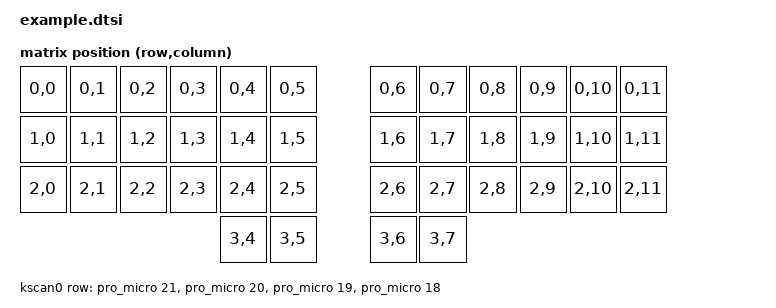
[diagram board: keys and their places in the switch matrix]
/*
 * Copyright (c) 2020 Pete Johanson
 *
 * SPDX-License-Identifier: MIT
 */

// 디바이스 트리 정의

// 키 매트릭스 디바이스 활용하기 위한 헤더
#include <dt-bindings/zmk/matrix_transform.h>

// 내 디바이스 설정
/ {
    // 어떤 디바이스를 zmk 가 사용할지 설정
    chosen {
        zmk,kscan = &kscan0;
        zmk,matrix_transform = &default_transform;
    };

    // 디폴트 키 매트릭스 설정, RC(row, col) 로 키 위치를 설정할 수 있다.
    default_transform: keymap_transform_0 {
        compatible = "zmk,matrix-transform";
        columns = <12>; // 열 개수
        rows = <4>; // 행 개수
// | SW1  | SW2  | SW3  | SW4  | SW5  | SW6  |                 | SW6  | SW5  | SW4  | SW3  | SW2  | SW1  |
// | SW7  | SW8  | SW9  | SW10 | SW11 | SW12 |                 | SW12 | SW11 | SW10 | SW9  | SW8  | SW7  |
// | SW13 | SW14 | SW15 | SW16 | SW17 | SW18 |                 | SW18 | SW17 | SW16 | SW15 | SW14 | SW13 |
// | SW19 | SW20 | SW21 | SW22 | SW23 | SW24 | SW25 |   | SW25 | SW24 | SW23 | SW22 | SW21 | SW20 | SW19 |
// | SW26 | SW27 | SW28 | SW29 | SW30 | SW31 | SW32 |   | SW29 | SW28 |                    | SW27 | SW26 |
        map = <
RC(0,0) RC(0,1) RC(0,2) RC(0,3) RC(0,4) RC(0,5)                  RC(0,6) RC(0,7) RC(0,8) RC(0,9) RC(0,10) RC(0,11)
RC(1,0) RC(1,1) RC(1,2) RC(1,3) RC(1,4) RC(1,5)                  RC(1,6) RC(1,7) RC(1,8) RC(1,9) RC(1,10) RC(1,11)
RC(2,0) RC(2,1) RC(2,2) RC(2,3) RC(2,4) RC(2,5)                  RC(2,6) RC(2,7) RC(2,8) RC(2,9) RC(2,10) RC(2,11)
                                RC(3,4) RC(3,5)                  RC(3,6) RC(3,7)
        >;
    };

    // 키스캔 디바이스 설정
    kscan0: kscan {
        compatible = "zmk,kscan-gpio-matrix";
        wakeup-source; // 절전모드 깨우기를 위해 필요함
        diode-direction = "col2row"; // 다이오드 방향 설정 
        // 행 구조는 양손 동일하니 여기에 한번만 설정한다. 열 구조는 overlay 에서 설정한다
        // 행의 핀은 프로마이크로 기준 21(행0) - 18(행3)
        row-gpios // 다이오드 방향이 row2col 이면 col-gpios 설정
            = <&pro_micro 21 (GPIO_ACTIVE_HIGH | GPIO_PULL_DOWN)>
            , <&pro_micro 20 (GPIO_ACTIVE_HIGH | GPIO_PULL_DOWN)>
            , <&pro_micro 19 (GPIO_ACTIVE_HIGH | GPIO_PULL_DOWN)>
            , <&pro_micro 18 (GPIO_ACTIVE_HIGH | GPIO_PULL_DOWN)>
            ;
    };
};
